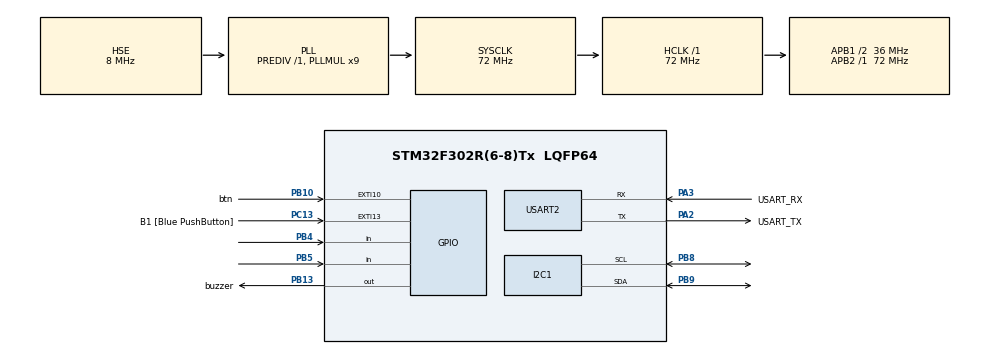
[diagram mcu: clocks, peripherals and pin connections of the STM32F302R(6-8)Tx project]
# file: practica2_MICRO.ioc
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Mcu.Family=STM32F3
Mcu.Name=STM32F302R(6-8)Tx
Mcu.Package=LQFP64
NVIC.PriorityGroup=NVIC_PRIORITYGROUP_0
PA13.GPIO_Label=TMS
PA13.Mode=Serial_Wire
PA13.Signal=SYS_JTMS-SWDIO
PA14.GPIO_Label=TCK
PA14.Mode=Serial_Wire
PA14.Signal=SYS_JTCK-SWCLK
PA2.GPIO_Label=USART_TX
PA2.GPIO_Mode=GPIO_MODE_AF_PP
PA2.GPIO_PuPd=GPIO_NOPULL
PA2.GPIO_Speed=GPIO_SPEED_FREQ_LOW
PA2.Mode=Asynchronous
PA2.Signal=USART2_TX
PA3.GPIO_Label=USART_RX
PA3.GPIO_Mode=GPIO_MODE_AF_PP
PA3.GPIO_PuPd=GPIO_NOPULL
PA3.GPIO_Speed=GPIO_SPEED_FREQ_LOW
PA3.Mode=Asynchronous
PA3.Signal=USART2_RX
PB10.GPIO_Label=btn
PB10.GPIO_PuPd=GPIO_PULLUP
PB10.Signal=GPXTI10
PB13.GPIO_Label=buzzer
PB13.Signal=GPIO_Output
PB3.GPIO_Label=SWO
PB3.Mode=Trace_Asynchronous_SW
PB3.Signal=SYS_JTDO-TRACESWO
PB4.Signal=GPIO_Input
PB5.Signal=GPIO_Input
PB8.Mode=I2C
PB8.Signal=I2C1_SCL
PB9.Mode=I2C
PB9.Signal=I2C1_SDA
PC13.GPIO_Label=B1 [Blue PushButton]
PC13.GPIO_ModeDefaultEXTI=GPIO_MODE_IT_FALLING
PC13.Signal=GPXTI13
PC14\ -\ OSC32_IN.Signal=RCC_OSC32_IN
PC15\ -\ OSC32_OUT.Signal=RCC_OSC32_OUT
PF0-OSC_IN.Mode=HSE-External-Oscillator
PF0-OSC_IN.Signal=RCC_OSC_IN
PF1-OSC_OUT.Mode=HSE-External-Oscillator
PF1-OSC_OUT.Signal=RCC_OSC_OUT
ProjectManager.HeapSize=0x200
ProjectManager.StackSize=0x400
ProjectManager.TargetToolchain=STM32CubeIDE
RCC.AHBFreq_Value=72000000
RCC.APB1CLKDivider=RCC_HCLK_DIV2
RCC.APB1Freq_Value=36000000
RCC.APB1TimFreq_Value=72000000
RCC.APB2Freq_Value=72000000
RCC.APB2TimFreq_Value=72000000
RCC.CortexFreq_Value=72000000
RCC.HCLKFreq_Value=72000000
RCC.HSE_VALUE=8000000
RCC.HSI_VALUE=8000000
RCC.LSE_VALUE=32768
RCC.PLLM=8
RCC.PLLMUL=RCC_PLL_MUL9
RCC.PLLN=336
RCC.PLLP=RCC_PLLP_DIV4
RCC.PLLQ=7
RCC.PLLSourceVirtual=RCC_PLLSOURCE_HSE
RCC.SYSCLKFreq_VALUE=72000000
RCC.SYSCLKSourceVirtual=RCC_SYSCLKSOURCE_PLLCLK
RCC.USBFreq_Value=72000000
USART2.VirtualMode-Asynchronous=VM_ASYNC
board=NUCLEO-F302R8

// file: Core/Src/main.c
/* USER CODE BEGIN Header */
/**
  ******************************************************************************
  * @file           : main.c
  * @brief          : Main program body
  ******************************************************************************
  * @attention
  *
  * Copyright (c) 2024 STMicroelectronics.
  * All rights reserved.
  *
  * This software is licensed under terms that can be found in the LICENSE file
  * in the root directory of this software component.
  * If no LICENSE file comes with this software, it is provided AS-IS.
  *
  ******************************************************************************
  */
/* USER CODE END Header */
#include "main.h"

/* USER CODE BEGIN Includes */
#include "encoder_jorge.h"
#include"stdio.h"
#include"string.h"
#include"lcdjorge.h"
/* USER CODE END Includes */

I2C_HandleTypeDef hi2c1;

UART_HandleTypeDef huart2;

void SystemClock_Config(void);
static void MX_GPIO_Init(void);
static void MX_USART2_UART_Init(void);
static void MX_I2C1_Init(void);

/* USER CODE BEGIN 0 */
// Definiciones de las opciones del menú
char opciones[][50] = {"1.Seno", "2.Cuad", "3.Sier","4.Tria"};
int max_opciones = sizeof(opciones) / sizeof(opciones[0]);
// Declaración externa de la variable counter
extern int counter;
int count2 = 0;

// Función para leer el estado del botón y actualizar el contador
void leer_btn(void) {
    if (!HAL_GPIO_ReadPin(btn_GPIO_Port, btn_Pin)) {
        count2++;
        HAL_Delay(600);
    }
    if (count2 >= 3) {
        count2 = 0;
    }
}

// Función para mostrar el menú actual en la pantalla LCD
void mostrar_menu(void) {
    lcd_put_cur(1, 0);
    lcd_send_string(opciones[counter]);
}
/* USER CODE END 0 */

int main(void)
{

  /* MCU Configuration--------------------------------------------------------*/

  /* Reset of all peripherals, Initializes the Flash interface and the Systick. */
  HAL_Init();

  /* Configure the system clock */
  SystemClock_Config();

  /* Initialize all configured peripherals */
  MX_GPIO_Init();
  MX_USART2_UART_Init();
  MX_I2C1_Init();
  /* USER CODE BEGIN 2 */
lcd_init();
lcd_enviar("Generador Ondas", 0,0);

  /* USER CODE END 2 */

  /* Infinite loop */
  while (1)
  {

    /* USER CODE BEGIN 3 */
	   // Lógica para leer el encoder y el botón
      leer_btn();
      encoder_loop();

      // Mostrar el menú principal
      mostrar_menu();

      // Si se presiona el botón, manejar la acción correspondiente
      if (count2 == 1) {
          // Manejar la acción según la opción seleccionada
          switch (counter) {
              case 0:
                  // Acción para la opción 1 (Seno)
                  // Por ejemplo, mostrar un submenú
                  lcd_enviar("                 ", 1, 0);
                  lcd_enviar("Senoide          ", 0, 0);
                  lcd_enviar("Amplitud +  -", 1, 0);
                  break;
              case 1:
                  // Acción para la opción 2 (Cuad)
                  lcd_enviar("                 ", 1, 0);
                  lcd_enviar("Cuadrada         ", 0, 0);
                  lcd_enviar("Amplitud +  -", 1, 0);
                  break;
              // Añade más casos según sea necesario para las otras opciones
              default:
                  break;
          }
          HAL_Delay(200); // Espera para evitar rebotes del botón
      }
      }
  /* USER CODE END 3 */
}

void SystemClock_Config(void)
{
  RCC_OscInitTypeDef RCC_OscInitStruct = {0};
  RCC_ClkInitTypeDef RCC_ClkInitStruct = {0};
  RCC_PeriphCLKInitTypeDef PeriphClkInit = {0};

  /** Initializes the RCC Oscillators according to the specified parameters
  * in the RCC_OscInitTypeDef structure.
  */
  RCC_OscInitStruct.OscillatorType = RCC_OSCILLATORTYPE_HSI|RCC_OSCILLATORTYPE_HSE;
  RCC_OscInitStruct.HSEState = RCC_HSE_ON;
  RCC_OscInitStruct.HSEPredivValue = RCC_HSE_PREDIV_DIV1;
  RCC_OscInitStruct.HSIState = RCC_HSI_ON;
  RCC_OscInitStruct.HSICalibrationValue = RCC_HSICALIBRATION_DEFAULT;
  RCC_OscInitStruct.PLL.PLLState = RCC_PLL_ON;
  RCC_OscInitStruct.PLL.PLLSource = RCC_PLLSOURCE_HSE;
  RCC_OscInitStruct.PLL.PLLMUL = RCC_PLL_MUL9;
  if (HAL_RCC_OscConfig(&RCC_OscInitStruct) != HAL_OK)
  {
    Error_Handler();
  }

  /** Initializes the CPU, AHB and APB buses clocks
  */
  RCC_ClkInitStruct.ClockType = RCC_CLOCKTYPE_HCLK|RCC_CLOCKTYPE_SYSCLK
                              |RCC_CLOCKTYPE_PCLK1|RCC_CLOCKTYPE_PCLK2;
  RCC_ClkInitStruct.SYSCLKSource = RCC_SYSCLKSOURCE_PLLCLK;
  RCC_ClkInitStruct.AHBCLKDivider = RCC_SYSCLK_DIV1;
  RCC_ClkInitStruct.APB1CLKDivider = RCC_HCLK_DIV2;
  RCC_ClkInitStruct.APB2CLKDivider = RCC_HCLK_DIV1;

  if (HAL_RCC_ClockConfig(&RCC_ClkInitStruct, FLASH_LATENCY_2) != HAL_OK)
  {
    Error_Handler();
  }
  PeriphClkInit.PeriphClockSelection = RCC_PERIPHCLK_I2C1;
  PeriphClkInit.I2c1ClockSelection = RCC_I2C1CLKSOURCE_HSI;
  if (HAL_RCCEx_PeriphCLKConfig(&PeriphClkInit) != HAL_OK)
  {
    Error_Handler();
  }
}

static void MX_I2C1_Init(void)
{

  hi2c1.Instance = I2C1;
  hi2c1.Init.Timing = 0x2000090E;
  hi2c1.Init.OwnAddress1 = 0;
  hi2c1.Init.AddressingMode = I2C_ADDRESSINGMODE_7BIT;
  hi2c1.Init.DualAddressMode = I2C_DUALADDRESS_DISABLE;
  hi2c1.Init.OwnAddress2 = 0;
  hi2c1.Init.OwnAddress2Masks = I2C_OA2_NOMASK;
  hi2c1.Init.GeneralCallMode = I2C_GENERALCALL_DISABLE;
  hi2c1.Init.NoStretchMode = I2C_NOSTRETCH_DISABLE;
  if (HAL_I2C_Init(&hi2c1) != HAL_OK)
  {
    Error_Handler();
  }

  /** Configure Analogue filter
  */
  if (HAL_I2CEx_ConfigAnalogFilter(&hi2c1, I2C_ANALOGFILTER_ENABLE) != HAL_OK)
  {
    Error_Handler();
  }

  /** Configure Digital filter
  */
  if (HAL_I2CEx_ConfigDigitalFilter(&hi2c1, 0) != HAL_OK)
  {
    Error_Handler();
  }

}

static void MX_USART2_UART_Init(void)
{

  huart2.Instance = USART2;
  huart2.Init.BaudRate = 38400;
  huart2.Init.WordLength = UART_WORDLENGTH_8B;
  huart2.Init.StopBits = UART_STOPBITS_1;
  huart2.Init.Parity = UART_PARITY_NONE;
  huart2.Init.Mode = UART_MODE_TX_RX;
  huart2.Init.HwFlowCtl = UART_HWCONTROL_NONE;
  huart2.Init.OverSampling = UART_OVERSAMPLING_16;
  huart2.Init.OneBitSampling = UART_ONE_BIT_SAMPLE_DISABLE;
  huart2.AdvancedInit.AdvFeatureInit = UART_ADVFEATURE_NO_INIT;
  if (HAL_UART_Init(&huart2) != HAL_OK)
  {
    Error_Handler();
  }

}

static void MX_GPIO_Init(void)
{
  GPIO_InitTypeDef GPIO_InitStruct = {0};

  /* GPIO Ports Clock Enable */
  __HAL_RCC_GPIOC_CLK_ENABLE();
  __HAL_RCC_GPIOF_CLK_ENABLE();
  __HAL_RCC_GPIOA_CLK_ENABLE();
  __HAL_RCC_GPIOB_CLK_ENABLE();

  /*Configure GPIO pin Output Level */
  HAL_GPIO_WritePin(buzzer_GPIO_Port, buzzer_Pin, GPIO_PIN_RESET);

  /*Configure GPIO pin : B1_Pin */
  GPIO_InitStruct.Pin = B1_Pin;
  GPIO_InitStruct.Mode = GPIO_MODE_IT_FALLING;
  GPIO_InitStruct.Pull = GPIO_NOPULL;
  HAL_GPIO_Init(B1_GPIO_Port, &GPIO_InitStruct);

  /*Configure GPIO pin : btn_Pin */
  GPIO_InitStruct.Pin = btn_Pin;
  GPIO_InitStruct.Mode = GPIO_MODE_IT_RISING;
  GPIO_InitStruct.Pull = GPIO_PULLUP;
  HAL_GPIO_Init(btn_GPIO_Port, &GPIO_InitStruct);

  /*Configure GPIO pin : buzzer_Pin */
  GPIO_InitStruct.Pin = buzzer_Pin;
  GPIO_InitStruct.Mode = GPIO_MODE_OUTPUT_PP;
  GPIO_InitStruct.Pull = GPIO_NOPULL;
  GPIO_InitStruct.Speed = GPIO_SPEED_FREQ_LOW;
  HAL_GPIO_Init(buzzer_GPIO_Port, &GPIO_InitStruct);

  /*Configure GPIO pins : PB4 PB5 */
  GPIO_InitStruct.Pin = GPIO_PIN_4|GPIO_PIN_5;
  GPIO_InitStruct.Mode = GPIO_MODE_INPUT;
  GPIO_InitStruct.Pull = GPIO_NOPULL;
  HAL_GPIO_Init(GPIOB, &GPIO_InitStruct);

}

/* USER CODE BEGIN 4 */
//void HAL_GPIO_EXTI_Callback(uint16_t GPIO_Pin)
//{
//  counterOutside++; //For testing only
//  currentMillis = HAL_GetTick();
//  if (GPIO_Pin == btn_Pin && (currentMillis - previousMillis > 10))
//  {
//    counterInside++; //For testing only
//
//    previousMillis = currentMillis;
//  }
//}
/* USER CODE END 4 */

void Error_Handler(void)
{
  __disable_irq();
  while (1)
  {
  }
}
